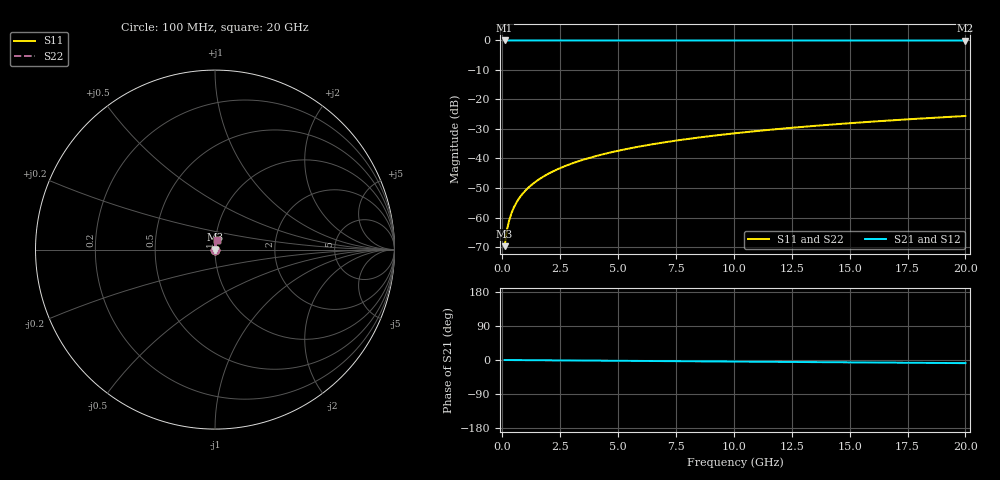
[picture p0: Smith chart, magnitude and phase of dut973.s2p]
! Touchstone file exported from HFSS 2026.1.0
!  File:  C:/ffzhzh/LocalFiles/Ansys_Project_Files/temp_train_TSV_973_1783187808_51560.aedt
!  Generated:  01:58:24 AM Jul  5, 2026
!  Design:  TSV
!  Project:  temp_train_TSV_973_1783187808_51560
! Variables:
!  h_bsmrdl = 2um
!  h_ox = 20um
!  h_rdl = 5um
!  h_sub = 70.71um
!  h_tmrdl = 5um
!  h_tsv = 70.71um
!  h_via = 3um
!  l_bsmrdl = 300um
!  l_sub = 418.32um
!  l_tmrdl = 200um
!  m_sub = 200um
!  pitch = 59.24um
!  r_tsv = 9.16um
!  s_tmrdl = 10um
!  w_bsmrdl = 18um
!  w_sub = 500um
!  w_tmrdl = 12um
!  x_tsv_center1 = 206um
!  x_tsv_center2 = 524um
!  x_tsv_center3 = 736um
!  x_tsv_center4 = 1054um
!  x_tsv_center5 = 1266um
!  x_tsv_center6 = 1584um
# GHz S MA R 50.000000
! Terminal data exported
! Port[1] = TSV1_1_T1
! Port[2] = TSV1_1_T2
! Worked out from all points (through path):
!   200 points, 100 MHz to 20 GHz, reference 50 ohm
!   highest |S21| = 0.00 dB at 100 MHz (marker M1); lowest = 0.0 dB at 20 GHz (marker M2)
!   group delay of S21, straight-line fit = 1.15 ps
!   lowest |S11| = -69.7 dB at 100 MHz (marker M3), VSWR 1.00, Z = 50 + j0.03 ohm
!   |S11| at or under -10 dB: start of sweep to end of sweep
!   |S22| runs from -69.7 to -25.6 dB; largest |S21 - S12| = 2.8e-15
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0.1  0.0003267 66.7  0.9999 -0.0  0.9999 -0.0  0.0003267 66.7
! Gamma 0 0 0 0
! Port Impedance 50 0 50 0
0.2  0.000614 76.9  0.9999 -0.1  0.9999 -0.1  0.000614 76.9
0.3  0.0009058 80.2  0.9998 -0.1  0.9998 -0.1  0.0009058 80.2
0.4  0.001195 81.7  0.9998 -0.2  0.9998 -0.2  0.001195 81.7
0.5  0.001481 82.5  0.9998 -0.2  0.9998 -0.2  0.001481 82.5
0.6  0.001763 83.0  0.9998 -0.3  0.9998 -0.3  0.001763 83.0
0.7  0.002042 83.3  0.9998 -0.3  0.9998 -0.3  0.002042 83.3
0.8  0.002317 83.6  0.9998 -0.3  0.9998 -0.3  0.002317 83.6
1  0.002862 84.0  0.9997 -0.4  0.9997 -0.4  0.002862 84.0
1.4  0.003938 84.6  0.9997 -0.6  0.9997 -0.6  0.003938 84.6
1.7  0.00474 84.9  0.9996 -0.7  0.9996 -0.7  0.00474 84.9
2  0.005541 85.2  0.9996 -0.8  0.9996 -0.8  0.005541 85.2
2.7  0.007408 85.5  0.9995 -1.1  0.9995 -1.1  0.007408 85.5
3.5  0.009538 85.6  0.9995 -1.5  0.9995 -1.5  0.009538 85.6
4.2  0.0114 85.5  0.9994 -1.8  0.9994 -1.8  0.0114 85.5
5  0.01351 85.4  0.9993 -2.1  0.9993 -2.1  0.01351 85.4
6.8  0.01825 85.0  0.9991 -2.8  0.9991 -2.8  0.01825 85.0
8.3  0.02218 84.6  0.999 -3.5  0.999 -3.5  0.02218 84.6
10.1  0.02688 84.0  0.9988 -4.2  0.9988 -4.2  0.02688 84.0
13.4  0.03547 82.9  0.9984 -5.6  0.9984 -5.6  0.03547 82.9
16.7  0.044 81.7  0.998 -6.9  0.998 -6.9  0.044 81.7
20  0.05246 80.4  0.9974 -8.3  0.9974 -8.3  0.05246 80.4
